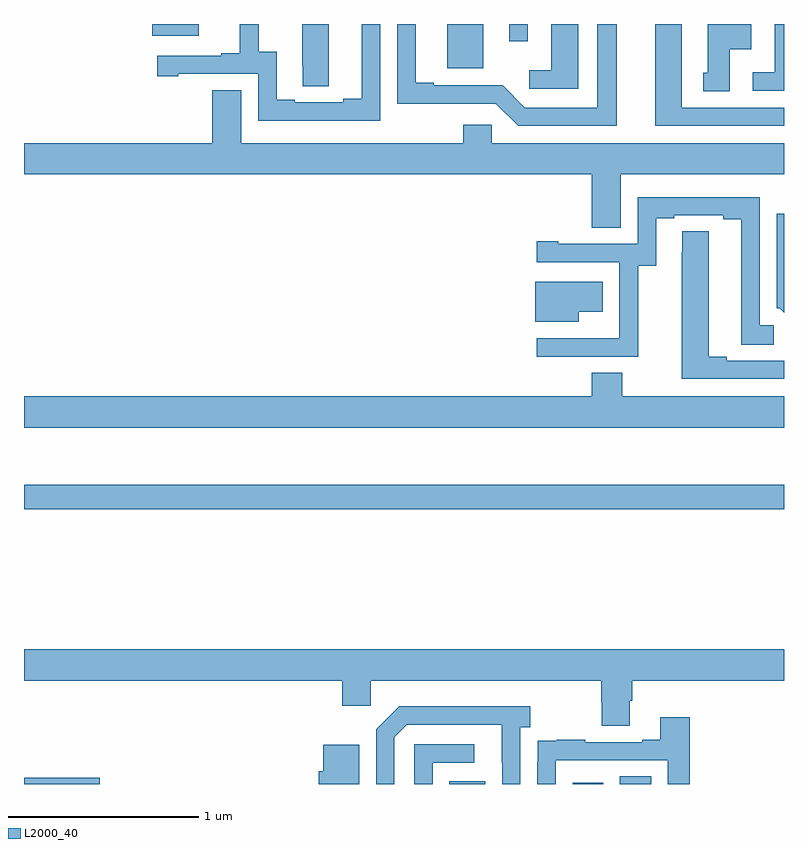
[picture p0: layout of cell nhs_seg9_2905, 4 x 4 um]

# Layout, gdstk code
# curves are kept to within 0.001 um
import gdstk
lib = gdstk.Library(unit=1e-6, precision=1e-09)
def R(c, l, rs):  # rectangles x0, y0, x1, y1
    for r in rs: c.add(gdstk.rectangle(r[:2], r[2:], *l))
def P(c, l, *ps):  # polygons
    for p in ps: c.add(gdstk.Polygon(p, *l))
L2000_40 = (2000, 40)

nhs_seg9_2905 = lib.new_cell('nhs_seg9_2905')
R(nhs_seg9_2905, L2000_40, [(277,1238.5,277.399,1238.534), (279.239,1238.5,279.427,1238.515), (279.887,1238.5,280.048,1238.506), (280.136,1238.5,280.3,1238.54), (277,1239.946,281,1240.075), (279.227,1242.266,279.418,1242.5), (279.554,1242.408,279.651,1242.5), (277.676,1242.437,277.921,1242.5)])
P(nhs_seg9_2905, L2000_40, [(278.605,1242.5),(278.465,1242.5),(278.465,1242.28),(278.466,1242.28),(278.466,1242.172),(278.605,1242.172)],
  [(280.714,1242.368),(280.828,1242.368),(280.828,1242.5),(280.598,1242.5),(280.598,1242.243),(280.574,1242.243),(280.574,1242.145),(280.714,1242.145)],
  [(281,1242.06),(280.462,1242.06),(280.462,1242.5),(280.322,1242.5),(280.322,1241.964),(281,1241.964)],
  [(279.916,1242.5),(279.776,1242.5),(279.776,1242.256),(279.66,1242.256),(279.66,1242.159),(279.916,1242.159)],
  [(280.12,1242.5),(280.016,1242.5),(280.016,1242.06),(279.636,1242.06),(279.519,1242.177),(279.157,1242.177),(279.157,1242.19),(279.061,1242.19),(279.061,1242.5),(278.964,1242.5),(278.964,1242.08),(279.483,1242.081),(279.6,1241.964),(280.12,1241.964)],
  [(281,1242.5),(280.952,1242.5),(280.952,1242.246),(280.836,1242.246),(280.836,1242.15),(281,1242.15)],
  [(278.874,1242.5),(278.777,1242.5),(278.777,1242.107),(278.681,1242.107),(278.681,1242.087),(278.425,1242.087),(278.425,1242.102),(278.329,1242.102),(278.329,1242.353),(278.235,1242.353),(278.235,1242.5),(278.135,1242.5),(278.135,1242.346),(278.039,1242.346),(278.039,1242.333),(277.701,1242.333),(277.701,1242.225),(277.813,1242.225),(277.813,1242.237),(278.232,1242.237),(278.232,1241.991),(278.874,1241.991)],
  [(280.141,1241.708),(281,1241.708),(281,1241.872),(279.462,1241.872),(279.462,1241.97),(279.311,1241.97),(279.311,1241.872),(278.143,1241.872),(278.143,1242.152),(277.991,1242.152),(277.991,1241.872),(277,1241.872),(277,1241.708),(279.989,1241.708),(279.989,1241.428),(280.141,1241.428)],
  [(280.233,1241.227),(280.327,1241.227),(280.327,1241.478),(280.423,1241.478),(280.423,1241.493),(280.679,1241.493),(280.679,1241.473),(280.775,1241.473),(280.775,1240.813),(280.945,1240.813),(280.945,1240.914),(280.872,1240.914),(280.872,1241.589),(280.23,1241.589),(280.23,1241.343),(279.811,1241.343),(279.811,1241.356),(279.699,1241.356),(279.699,1241.247),(280.134,1241.247),(280.134,1240.846),(280.133,1240.846),(280.133,1240.845),(279.699,1240.845),(279.699,1240.749),(280.233,1240.749)],
  [(281,1241.501),(280.962,1241.501),(280.962,1241.004),(280.977,1241.004),(281,1240.981)],
  [(281,1240.728),(280.699,1240.728),(280.699,1240.748),(280.603,1240.748),(280.603,1241.408),(280.464,1241.408),(280.464,1241.3),(280.463,1241.3),(280.463,1240.632),(281,1240.632)],
  [(279.919,1240.985),(280.045,1240.985),(280.045,1241.143),(279.692,1241.143),(279.692,1240.934),(279.919,1240.934)],
  [(281,1240.54),(280.149,1240.54),(280.149,1240.664),(279.989,1240.664),(279.989,1240.54),(277,1240.54),(277,1240.376),(281,1240.376)],
  [(280.189,1238.938),(280.202,1238.938),(280.202,1239.044),(281,1239.044),(281,1239.208),(277,1239.208),(277,1239.044),(278.675,1239.044),(278.675,1238.913),(278.826,1238.913),(278.826,1239.044),(280.037,1239.044),(280.037,1238.931),(280.042,1238.931),(280.042,1238.806),(280.189,1238.806)],
  [(278.949,1238.745),(279.015,1238.811),(279.515,1238.811),(279.516,1238.5),(279.612,1238.5),(279.612,1238.798),(279.664,1238.798),(279.664,1238.908),(278.974,1238.908),(278.853,1238.787),(278.853,1238.5),(278.949,1238.5)],
  [(279.798,1238.625),(280.389,1238.625),(280.389,1238.5),(280.505,1238.5),(280.505,1238.851),(280.349,1238.851),(280.349,1238.734),(280.253,1238.734),(280.253,1238.721),(279.953,1238.721),(279.953,1238.734),(279.805,1238.734),(279.805,1238.727),(279.703,1238.727),(279.703,1238.618),(279.702,1238.618),(279.702,1238.5),(279.798,1238.5)],
  [(279.15,1238.613),(279.37,1238.613),(279.37,1238.709),(279.054,1238.709),(279.054,1238.5),(279.15,1238.5)],
  [(278.764,1238.707),(278.576,1238.707),(278.576,1238.568),(278.552,1238.568),(278.552,1238.5),(278.764,1238.5)])

lib.write_gds('nhs_seg9_2905.gds')
